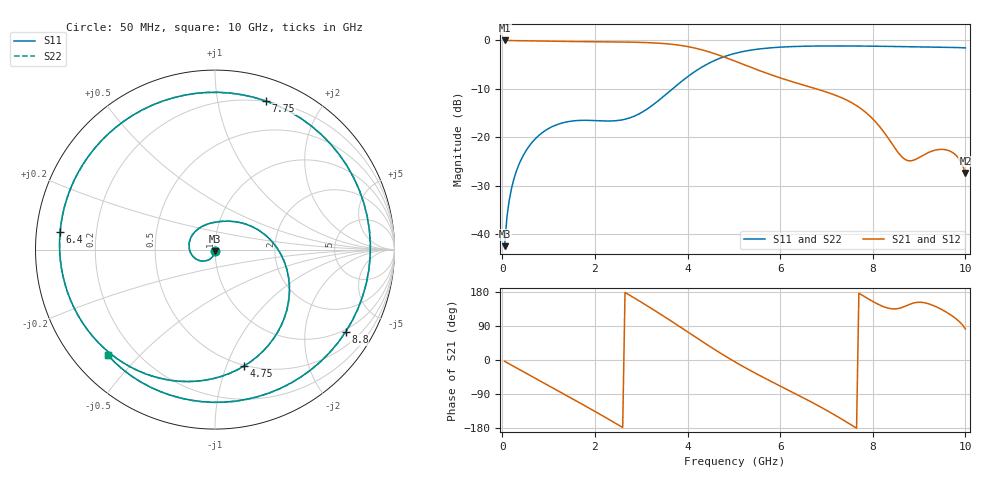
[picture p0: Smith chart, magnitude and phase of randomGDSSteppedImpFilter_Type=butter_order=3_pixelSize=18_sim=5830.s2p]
! freq	dB(S11)	phase(S11)	dB(S12)	phase(S12)
!  dB(S21)	phase(S21)	dB(S22)	phase(S22)
!S-par simulation data
#  GHz  S  DB  R 50
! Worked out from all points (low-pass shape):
!   200 points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, 50 MHz to 10 GHz, reference 50 ohm
!   highest |S21| = 0.00 dB at 50 MHz (marker M1); lowest = -27.3 dB at 10 GHz (marker M2)
!   |S21| within 3 dB of the highest: start of sweep to 4.669 GHz
!   lowest |S11| = -42.4 dB at 50 MHz (marker M3), VSWR 1.02, Z = 50 - j0.754 ohm
!   |S11| at or under -10 dB: start of sweep to 3.674 GHz
!   |S22| runs from -42.4 to -1.1 dB; largest |S21 - S12| = 0
!   S11 on the Smith chart (normalised r, x): 50 MHz: 1.00, -0.02; 4.75 GHz: 0.49, -1.15; 6.4 GHz: 0.07, +0.06; 7.75 GHz: 0.20, +1.38; 8.8 GHz: 0.91, -3.22; 10 GHz: 0.10, -0.41
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0.05  -42.43 -92.6  -0.00 -3.4  -0.00 -3.4  -42.44 -92.6
0.2  -30.48 -103.3  -0.02 -13.6  -0.02 -13.6  -30.48 -103.3
0.5  -22.94 -124.2  -0.07 -33.9  -0.07 -33.9  -22.94 -124.1
1.15  -17.48 -168.5  -0.18 -77.7  -0.18 -77.7  -17.48 -168.4
1.75  -16.47 150.6  -0.24 -118.4  -0.24 -118.4  -16.47 150.8
2.2  -16.61 119.3  -0.28 -149.6  -0.28 -149.6  -16.61 119.7
2.6  -16.36 90.7  -0.32 -178.0  -0.32 -178.0  -16.36 91.1
3  -14.91 61.2  -0.40 152.7  -0.40 152.7  -14.91 61.6
3.4  -12.19 30.7  -0.58 122.2  -0.58 122.2  -12.19 31.0
3.95  -7.86 -13.0  -1.18 78.4  -1.18 78.4  -7.86 -12.7
4.35  -5.28 -45.1  -2.04 46.2  -2.04 46.2  -5.28 -44.9
4.75  -3.49 -76.2  -3.28 15.1  -3.28 15.1  -3.49 -76.0
5.05  -2.61 -98.1  -4.36 -6.8  -4.36 -6.8  -2.61 -98.0
5.8  -1.52 -148.1  -7.07 -56.2  -7.07 -56.2  -1.52 -148.0
6.4  -1.22 173.6  -8.91 -93.5  -8.91 -93.5  -1.22 173.7
6.7  -1.16 153.7  -9.76 -112.6  -9.76 -112.6  -1.17 153.8
7.3  -1.14 109.6  -11.71 -153.9  -11.71 -153.9  -1.14 109.6
7.75  -1.16 71.0  -14.10 172.5  -14.10 172.5  -1.16 70.8
8.35  -1.23 12.5  -20.39 136.3  -20.39 136.3  -1.23 12.3
8.8  -1.31 -32.2  -24.83 147.2  -24.83 147.2  -1.31 -32.4
9.4  -1.40 -86.5  -22.53 138.7  -22.53 138.7  -1.39 -86.5
10  -1.54 -135.5  -27.34 82.0  -27.34 82.0  -1.54 -135.4
